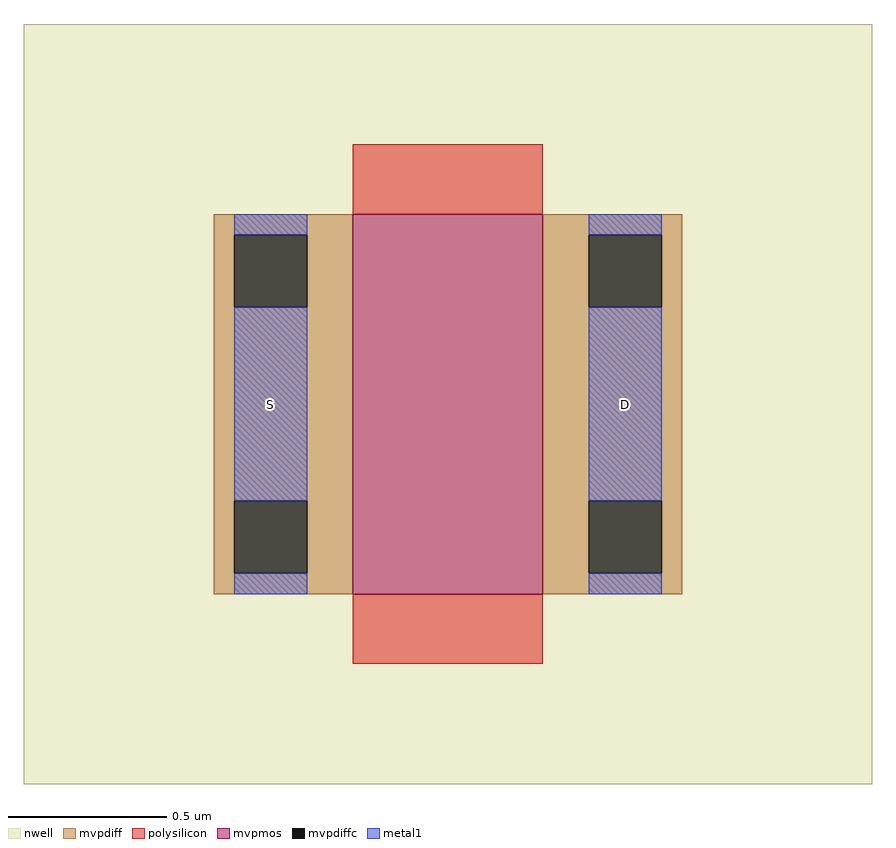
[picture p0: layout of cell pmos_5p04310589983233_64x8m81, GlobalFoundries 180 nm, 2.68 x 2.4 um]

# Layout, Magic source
magic
tech gf180mcuA
magscale 1 10
<< nwell >>
rect -208 -120 328 360
<< mvpmos >>
rect 0 0 120 240
<< mvpdiff >>
rect -88 227 0 240
rect -88 181 -75 227
rect -29 181 0 227
rect -88 59 0 181
rect -88 13 -75 59
rect -29 13 0 59
rect -88 0 0 13
rect 120 227 208 240
rect 120 181 149 227
rect 195 181 208 227
rect 120 59 208 181
rect 120 13 149 59
rect 195 13 208 59
rect 120 0 208 13
<< mvpdiffc >>
rect -75 181 -29 227
rect -75 13 -29 59
rect 149 181 195 227
rect 149 13 195 59
<< polysilicon >>
rect 0 240 120 284
rect 0 -44 120 0
<< metal1 >>
rect -75 227 -29 240
rect -75 59 -29 181
rect -75 0 -29 13
rect 149 227 195 240
rect 149 59 195 181
rect 149 0 195 13
<< labels >>
flabel metal1 s -52 120 -52 120 0 FreeSans 400 0 0 0 S
flabel metal1 s 172 120 172 120 0 FreeSans 400 0 0 0 D
<< properties >>
string GDS_END 382052
string GDS_FILE $PDKPATH/libs.ref/gf180mcu_fd_ip_sram/gds/gf180mcu_fd_ip_sram__sram64x8m8wm1.gds
string GDS_START 380836
<< end >>
